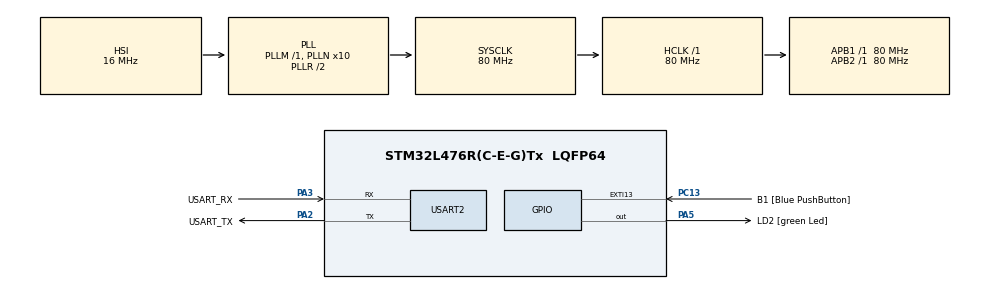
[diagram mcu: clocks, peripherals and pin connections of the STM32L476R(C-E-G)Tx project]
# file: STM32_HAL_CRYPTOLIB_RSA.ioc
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Mcu.Family=STM32L4
Mcu.Name=STM32L476R(C-E-G)Tx
Mcu.Package=LQFP64
NVIC.PriorityGroup=NVIC_PRIORITYGROUP_4
PA13\ (JTMS-SWDIO).GPIO_Label=TMS
PA13\ (JTMS-SWDIO).Mode=Serial_Wire
PA13\ (JTMS-SWDIO).Signal=SYS_JTMS-SWDIO
PA14\ (JTCK-SWCLK).GPIO_Label=TCK
PA14\ (JTCK-SWCLK).Mode=Serial_Wire
PA14\ (JTCK-SWCLK).Signal=SYS_JTCK-SWCLK
PA2.GPIO_Label=USART_TX
PA2.GPIO_Mode=GPIO_MODE_AF_PP
PA2.GPIO_PuPd=GPIO_NOPULL
PA2.GPIO_Speed=GPIO_SPEED_FREQ_VERY_HIGH
PA2.Mode=Asynchronous
PA2.Signal=USART2_TX
PA3.GPIO_Label=USART_RX
PA3.GPIO_Mode=GPIO_MODE_AF_PP
PA3.GPIO_PuPd=GPIO_NOPULL
PA3.GPIO_Speed=GPIO_SPEED_FREQ_VERY_HIGH
PA3.Mode=Asynchronous
PA3.Signal=USART2_RX
PA5.GPIO_Label=LD2 [green Led]
PA5.GPIO_ModeDefaultOutputPP=GPIO_MODE_OUTPUT_PP
PA5.GPIO_PuPd=GPIO_NOPULL
PA5.GPIO_Speed=GPIO_SPEED_FREQ_LOW
PA5.Signal=GPIO_Output
PB3\ (JTDO-TRACESWO).GPIO_Label=SWO
PB3\ (JTDO-TRACESWO).Signal=SYS_JTDO-SWO
PC13.GPIO_Label=B1 [Blue PushButton]
PC13.GPIO_ModeDefaultEXTI=GPIO_MODE_IT_FALLING
PC13.GPIO_PuPd=GPIO_NOPULL
PC13.Signal=GPXTI13
PC14-OSC32_IN\ (PC14).Mode=LSE-External-Oscillator
PC14-OSC32_IN\ (PC14).Signal=RCC_OSC32_IN
PC15-OSC32_OUT\ (PC15).Mode=LSE-External-Oscillator
PC15-OSC32_OUT\ (PC15).Signal=RCC_OSC32_OUT
PH0-OSC_IN\ (PH0).Signal=RCC_OSC_IN
PH1-OSC_OUT\ (PH1).Signal=RCC_OSC_OUT
ProjectManager.HeapSize=0x200
ProjectManager.StackSize=0x400
ProjectManager.TargetToolchain=STM32CubeIDE
RCC.ADCFreq_Value=64000000
RCC.AHBFreq_Value=80000000
RCC.APB1Freq_Value=80000000
RCC.APB1TimFreq_Value=80000000
RCC.APB2Freq_Value=80000000
RCC.APB2TimFreq_Value=80000000
RCC.CortexFreq_Value=80000000
RCC.HCLKFreq_Value=80000000
RCC.HSE_VALUE=8000000
RCC.HSI_VALUE=16000000
RCC.MSI_VALUE=4000000
RCC.PLLN=10
RCC.PLLSAI1Q=RCC_PLLQ_DIV4
RCC.PLLSourceVirtual=RCC_PLLSOURCE_HSI
RCC.PREFETCH_ENABLE=1
RCC.SYSCLKFreq_VALUE=80000000
RCC.SYSCLKSource=RCC_SYSCLKSOURCE_PLLCLK
RCC.USBFreq_Value=32000000
RCC.VCOOutputFreq_Value=160000000
USART2.VirtualMode-Asynchronous=VM_ASYNC
board=NUCLEO-L476RG

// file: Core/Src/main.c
/* USER CODE BEGIN Header */
/**
 ******************************************************************************
 * @file           : main.c
 * @brief          : Main program body
 ******************************************************************************
 * @attention
 *
 * Copyright (c) 2022 STMicroelectronics.
 * All rights reserved.
 *
 * This software is licensed under terms that can be found in the LICENSE file
 * in the root directory of this software component.
 * If no LICENSE file comes with this software, it is provided AS-IS.
 *
 ******************************************************************************
 */
/* USER CODE END Header */
#include "main.h"
#include "usart.h"
#include "gpio.h"

/* USER CODE BEGIN Includes */
#include <stdio.h>
#include <string.h>
#include <stdbool.h>
#include "cmox_crypto.h"
/* USER CODE END Includes */

/* USER CODE BEGIN PV */

/** Extract from pkcs-1v2-1d2-vec/oaep-vect.txt
# Example 10: A 2048-bit RSA key pair
# -----------------------------------

# Modulus:
ae 45 ed 56 01 ce c6 b8 cc 05 f8 03 93 5c 67 4d
db e0 d7 5c 4c 09 fd 79 51 fc 6b 0c ae c3 13 a8
df 39 97 0c 51 8b ff ba 5e d6 8f 3f 0d 7f 22 a4
02 9d 41 3f 1a e0 7e 4e be 9e 41 77 ce 23 e7 f5
40 4b 56 9e 4e e1 bd cf 3c 1f b0 3e f1 13 80 2d
4f 85 5e b9 b5 13 4b 5a 7c 80 85 ad ca e6 fa 2f
a1 41 7e c3 76 3b e1 71 b0 c6 2b 76 0e de 23 c1
2a d9 2b 98 08 84 c6 41 f5 a8 fa c2 6b da d4 a0
33 81 a2 2f e1 b7 54 88 50 94 c8 25 06 d4 01 9a
53 5a 28 6a fe b2 71 bb 9b a5 92 de 18 dc f6 00
c2 ae ea e5 6e 02 f7 cf 79 fc 14 cf 3b dc 7c d8
4f eb bb f9 50 ca 90 30 4b 22 19 a7 aa 06 3a ef
a2 c3 c1 98 0e 56 0c d6 4a fe 77 95 85 b6 10 76
57 b9 57 85 7e fd e6 01 09 88 ab 7d e4 17 fc 88
d8 f3 84 c4 e6 e7 2c 3f 94 3e 0c 31 c0 c4 a5 cc
36 f8 79 d8 a3 ac 9d 7d 59 86 0e aa da 6b 83 bb

# Public Exponent:
01 00 01

# Private Exponent:
05 6b 04 21 6f e5 f3 54 ac 77 25 0a 4b 6b 0c 85
25 a8 5c 59 b0 bd 80 c5 64 50 a2 2d 5f 43 8e 59
6a 33 3a a8 75 e2 91 dd 43 f4 8c b8 8b 9d 5f c0
d4 99 f9 fc d1 c3 97 f9 af c0 70 cd 9e 39 8c 8d
19 e6 1d b7 c7 41 0a 6b 26 75 df bf 5d 34 5b 80
4d 20 1a dd 50 2d 5c e2 df cb 09 1c e9 99 7b be
be 57 30 6f 38 3e 4d 58 81 03 f0 36 f7 e8 5d 19
34 d1 52 a3 23 e4 a8 db 45 1d 6f 4a 5b 1b 0f 10
2c c1 50 e0 2f ee e2 b8 8d ea 4a d4 c1 ba cc b2
4d 84 07 2d 14 e1 d2 4a 67 71 f7 40 8e e3 05 64
fb 86 d4 39 3a 34 bc f0 b7 88 50 1d 19 33 03 f1
3a 22 84 b0 01 f0 f6 49 ea f7 93 28 d4 ac 5c 43
0a b4 41 49 20 a9 46 0e d1 b7 bc 40 ec 65 3e 87
6d 09 ab c5 09 ae 45 b5 25 19 01 16 a0 c2 61 01
84 82 98 50 9c 1c 3b f3 a4 83 e7 27 40 54 e1 5e
97 07 50 36 e9 89 f6 09 32 80 7b 52 57 75 1e 79

# OAEP Example 10.4
# Message:
bc dd 19 0d a3 b7 d3 00 df 9a 06 e2 2c aa e2 a7
5f 10 c9 1f f6 67 b7 c1 6b de 8b 53 06 4a 26 49
a9 40 45 c9

# Seed:
5c ac a6 a0 f7 64 16 1a 96 84 f8 5d 92 b6 e0 ef
37 ca 8b 65

# Encryption:
63 18 e9 fb 5c 0d 05 e5 30 7e 16 83 43 6e 90 32
93 ac 46 42 35 8a aa 22 3d 71 63 01 3a ba 87 e2
df da 8e 60 c6 86 0e 29 a1 e9 26 86 16 3e a0 b9
17 5f 32 9c a3 b1 31 a1 ed d3 a7 77 59 a8 b9 7b
ad 6a 4f 8f 43 96 f2 8c f6 f3 9c a5 81 12 e4 81
60 d6 e2 03 da a5 85 6f 3a ca 5f fe d5 77 af 49
94 08 e3 df d2 33 e3 e6 04 db e3 4a 9c 4c 90 82
de 65 52 7c ac 63 31 d2 9d c8 0e 05 08 a0 fa 71
22 e7 f3 29 f6 cc a5 cf a3 4d 4d 1d a4 17 80 54
57 e0 08 be c5 49 e4 78 ff 9e 12 a7 63 c4 77 d1
5b bb 78 f5 b6 9b d5 78 30 fc 2c 4e d6 86 d7 9b
c7 2a 95 d8 5f 88 13 4c 6b 0a fe 56 a8 cc fb c8
55 82 8b b3 39 bd 17 90 9c f1 d7 0d e3 33 5a e0
70 39 09 3e 60 6d 65 53 65 de 65 50 b8 72 cd 6d
e1 d4 40 ee 03 1b 61 94 5f 62 9a d8 a3 53 b0 d4
09 39 e9 6a 3c 45 0d 2a 8d 5e ee 9f 67 80 93 c8

*/

//plain text
const uint8_t message[] =
{
    0xbc, 0xdd, 0x19, 0x0d, 0xa3, 0xb7, 0xd3, 0x00, 0xdf, 0x9a, 0x06, 0xe2, 0x2c, 0xaa, 0xe2, 0xa7,
    0x5f, 0x10, 0xc9, 0x1f, 0xf6, 0x67, 0xb7, 0xc1, 0x6b, 0xde, 0x8b, 0x53, 0x06, 0x4a, 0x26, 0x49,
    0xa9, 0x40, 0x45, 0xc9
};

//seed
const uint8_t seed[] =
{
    0x5c, 0xac, 0xa6, 0xa0, 0xf7, 0x64, 0x16, 0x1a, 0x96, 0x84, 0xf8, 0x5d, 0x92, 0xb6, 0xe0, 0xef,
    0x37, 0xca, 0x8b, 0x65
};

//encrypted text
const uint8_t encryptedMessage[] =
{
    0x63, 0x18, 0xe9, 0xfb, 0x5c, 0x0d, 0x05, 0xe5, 0x30, 0x7e, 0x16, 0x83, 0x43, 0x6e, 0x90, 0x32,
    0x93, 0xac, 0x46, 0x42, 0x35, 0x8a, 0xaa, 0x22, 0x3d, 0x71, 0x63, 0x01, 0x3a, 0xba, 0x87, 0xe2,
    0xdf, 0xda, 0x8e, 0x60, 0xc6, 0x86, 0x0e, 0x29, 0xa1, 0xe9, 0x26, 0x86, 0x16, 0x3e, 0xa0, 0xb9,
    0x17, 0x5f, 0x32, 0x9c, 0xa3, 0xb1, 0x31, 0xa1, 0xed, 0xd3, 0xa7, 0x77, 0x59, 0xa8, 0xb9, 0x7b,
    0xad, 0x6a, 0x4f, 0x8f, 0x43, 0x96, 0xf2, 0x8c, 0xf6, 0xf3, 0x9c, 0xa5, 0x81, 0x12, 0xe4, 0x81,
    0x60, 0xd6, 0xe2, 0x03, 0xda, 0xa5, 0x85, 0x6f, 0x3a, 0xca, 0x5f, 0xfe, 0xd5, 0x77, 0xaf, 0x49,
    0x94, 0x08, 0xe3, 0xdf, 0xd2, 0x33, 0xe3, 0xe6, 0x04, 0xdb, 0xe3, 0x4a, 0x9c, 0x4c, 0x90, 0x82,
    0xde, 0x65, 0x52, 0x7c, 0xac, 0x63, 0x31, 0xd2, 0x9d, 0xc8, 0x0e, 0x05, 0x08, 0xa0, 0xfa, 0x71,
    0x22, 0xe7, 0xf3, 0x29, 0xf6, 0xcc, 0xa5, 0xcf, 0xa3, 0x4d, 0x4d, 0x1d, 0xa4, 0x17, 0x80, 0x54,
    0x57, 0xe0, 0x08, 0xbe, 0xc5, 0x49, 0xe4, 0x78, 0xff, 0x9e, 0x12, 0xa7, 0x63, 0xc4, 0x77, 0xd1,
    0x5b, 0xbb, 0x78, 0xf5, 0xb6, 0x9b, 0xd5, 0x78, 0x30, 0xfc, 0x2c, 0x4e, 0xd6, 0x86, 0xd7, 0x9b,
    0xc7, 0x2a, 0x95, 0xd8, 0x5f, 0x88, 0x13, 0x4c, 0x6b, 0x0a, 0xfe, 0x56, 0xa8, 0xcc, 0xfb, 0xc8,
    0x55, 0x82, 0x8b, 0xb3, 0x39, 0xbd, 0x17, 0x90, 0x9c, 0xf1, 0xd7, 0x0d, 0xe3, 0x33, 0x5a, 0xe0,
    0x70, 0x39, 0x09, 0x3e, 0x60, 0x6d, 0x65, 0x53, 0x65, 0xde, 0x65, 0x50, 0xb8, 0x72, 0xcd, 0x6d,
    0xe1, 0xd4, 0x40, 0xee, 0x03, 0x1b, 0x61, 0x94, 0x5f, 0x62, 0x9a, 0xd8, 0xa3, 0x53, 0xb0, 0xd4,
    0x09, 0x39, 0xe9, 0x6a, 0x3c, 0x45, 0x0d, 0x2a, 0x8d, 0x5e, 0xee, 0x9f, 0x67, 0x80, 0x93, 0xc8
};

//modulus
const uint8_t modulus[] =
{
    0xae, 0x45, 0xed, 0x56, 0x01, 0xce, 0xc6, 0xb8, 0xcc, 0x05, 0xf8, 0x03, 0x93, 0x5c, 0x67, 0x4d,
    0xdb, 0xe0, 0xd7, 0x5c, 0x4c, 0x09, 0xfd, 0x79, 0x51, 0xfc, 0x6b, 0x0c, 0xae, 0xc3, 0x13, 0xa8,
    0xdf, 0x39, 0x97, 0x0c, 0x51, 0x8b, 0xff, 0xba, 0x5e, 0xd6, 0x8f, 0x3f, 0x0d, 0x7f, 0x22, 0xa4,
    0x02, 0x9d, 0x41, 0x3f, 0x1a, 0xe0, 0x7e, 0x4e, 0xbe, 0x9e, 0x41, 0x77, 0xce, 0x23, 0xe7, 0xf5,
    0x40, 0x4b, 0x56, 0x9e, 0x4e, 0xe1, 0xbd, 0xcf, 0x3c, 0x1f, 0xb0, 0x3e, 0xf1, 0x13, 0x80, 0x2d,
    0x4f, 0x85, 0x5e, 0xb9, 0xb5, 0x13, 0x4b, 0x5a, 0x7c, 0x80, 0x85, 0xad, 0xca, 0xe6, 0xfa, 0x2f,
    0xa1, 0x41, 0x7e, 0xc3, 0x76, 0x3b, 0xe1, 0x71, 0xb0, 0xc6, 0x2b, 0x76, 0x0e, 0xde, 0x23, 0xc1,
    0x2a, 0xd9, 0x2b, 0x98, 0x08, 0x84, 0xc6, 0x41, 0xf5, 0xa8, 0xfa, 0xc2, 0x6b, 0xda, 0xd4, 0xa0,
    0x33, 0x81, 0xa2, 0x2f, 0xe1, 0xb7, 0x54, 0x88, 0x50, 0x94, 0xc8, 0x25, 0x06, 0xd4, 0x01, 0x9a,
    0x53, 0x5a, 0x28, 0x6a, 0xfe, 0xb2, 0x71, 0xbb, 0x9b, 0xa5, 0x92, 0xde, 0x18, 0xdc, 0xf6, 0x00,
    0xc2, 0xae, 0xea, 0xe5, 0x6e, 0x02, 0xf7, 0xcf, 0x79, 0xfc, 0x14, 0xcf, 0x3b, 0xdc, 0x7c, 0xd8,
    0x4f, 0xeb, 0xbb, 0xf9, 0x50, 0xca, 0x90, 0x30, 0x4b, 0x22, 0x19, 0xa7, 0xaa, 0x06, 0x3a, 0xef,
    0xa2, 0xc3, 0xc1, 0x98, 0x0e, 0x56, 0x0c, 0xd6, 0x4a, 0xfe, 0x77, 0x95, 0x85, 0xb6, 0x10, 0x76,
    0x57, 0xb9, 0x57, 0x85, 0x7e, 0xfd, 0xe6, 0x01, 0x09, 0x88, 0xab, 0x7d, 0xe4, 0x17, 0xfc, 0x88,
    0xd8, 0xf3, 0x84, 0xc4, 0xe6, 0xe7, 0x2c, 0x3f, 0x94, 0x3e, 0x0c, 0x31, 0xc0, 0xc4, 0xa5, 0xcc,
    0x36, 0xf8, 0x79, 0xd8, 0xa3, 0xac, 0x9d, 0x7d, 0x59, 0x86, 0x0e, 0xaa, 0xda, 0x6b, 0x83, 0xbb
};

//public exponent
const uint8_t publicExponent[] =
{
    0x01, 0x00, 0x01
};

//private exponent
const uint8_t privateExponent[] =
{
    0x05, 0x6b, 0x04, 0x21, 0x6f, 0xe5, 0xf3, 0x54, 0xac, 0x77, 0x25, 0x0a, 0x4b, 0x6b, 0x0c, 0x85,
    0x25, 0xa8, 0x5c, 0x59, 0xb0, 0xbd, 0x80, 0xc5, 0x64, 0x50, 0xa2, 0x2d, 0x5f, 0x43, 0x8e, 0x59,
    0x6a, 0x33, 0x3a, 0xa8, 0x75, 0xe2, 0x91, 0xdd, 0x43, 0xf4, 0x8c, 0xb8, 0x8b, 0x9d, 0x5f, 0xc0,
    0xd4, 0x99, 0xf9, 0xfc, 0xd1, 0xc3, 0x97, 0xf9, 0xaf, 0xc0, 0x70, 0xcd, 0x9e, 0x39, 0x8c, 0x8d,
    0x19, 0xe6, 0x1d, 0xb7, 0xc7, 0x41, 0x0a, 0x6b, 0x26, 0x75, 0xdf, 0xbf, 0x5d, 0x34, 0x5b, 0x80,
    0x4d, 0x20, 0x1a, 0xdd, 0x50, 0x2d, 0x5c, 0xe2, 0xdf, 0xcb, 0x09, 0x1c, 0xe9, 0x99, 0x7b, 0xbe,
    0xbe, 0x57, 0x30, 0x6f, 0x38, 0x3e, 0x4d, 0x58, 0x81, 0x03, 0xf0, 0x36, 0xf7, 0xe8, 0x5d, 0x19,
    0x34, 0xd1, 0x52, 0xa3, 0x23, 0xe4, 0xa8, 0xdb, 0x45, 0x1d, 0x6f, 0x4a, 0x5b, 0x1b, 0x0f, 0x10,
    0x2c, 0xc1, 0x50, 0xe0, 0x2f, 0xee, 0xe2, 0xb8, 0x8d, 0xea, 0x4a, 0xd4, 0xc1, 0xba, 0xcc, 0xb2,
    0x4d, 0x84, 0x07, 0x2d, 0x14, 0xe1, 0xd2, 0x4a, 0x67, 0x71, 0xf7, 0x40, 0x8e, 0xe3, 0x05, 0x64,
    0xfb, 0x86, 0xd4, 0x39, 0x3a, 0x34, 0xbc, 0xf0, 0xb7, 0x88, 0x50, 0x1d, 0x19, 0x33, 0x03, 0xf1,
    0x3a, 0x22, 0x84, 0xb0, 0x01, 0xf0, 0xf6, 0x49, 0xea, 0xf7, 0x93, 0x28, 0xd4, 0xac, 0x5c, 0x43,
    0x0a, 0xb4, 0x41, 0x49, 0x20, 0xa9, 0x46, 0x0e, 0xd1, 0xb7, 0xbc, 0x40, 0xec, 0x65, 0x3e, 0x87,
    0x6d, 0x09, 0xab, 0xc5, 0x09, 0xae, 0x45, 0xb5, 0x25, 0x19, 0x01, 0x16, 0xa0, 0xc2, 0x61, 0x01,
    0x84, 0x82, 0x98, 0x50, 0x9c, 0x1c, 0x3b, 0xf3, 0xa4, 0x83, 0xe7, 0x27, 0x40, 0x54, 0xe1, 0x5e,
    0x97, 0x07, 0x50, 0x36, 0xe9, 0x89, 0xf6, 0x09, 0x32, 0x80, 0x7b, 0x52, 0x57, 0x75, 0x1e, 0x79
};

/* USER CODE END PV */

void SystemClock_Config(void);

/* USER CODE BEGIN 0 */

cmox_rsa_handle_t hRSA;                                 //RSA handle
cmox_rsa_key_t RSAKey;                                  //RSA key
uint8_t workingBuffer[7000];                            //RSA working buffer
uint8_t encBuffer[sizeof(encryptedMessage)];            //encrypted Buffer
uint8_t decBuffer[sizeof(message)];                     //decrypted Buffer
size_t encOutputLen;                                    //encrypted length
size_t decOutputLen;                                    //decrypted length

int __io_putchar (int ch)
{
  HAL_UART_Transmit(&huart2, (uint8_t*)&ch, 1, HAL_MAX_DELAY);
  return ch;
}

void printHexArray(const uint8_t* arr, const size_t len)
{
  for(size_t i = 0; i < len; i++)
  {
    printf("%02X ", arr[i]);
  }

  printf("\r\n");
}

bool RSAEncrypt(const uint8_t* plainText, const size_t plainTextLen, uint8_t* encBuffer, size_t* encBufferLen)
{
  cmox_rsa_retval_t retval;
  cmox_rsa_construct(&hRSA, CMOX_RSA_MATH_FUNCS, CMOX_MODEXP_PUBLIC, workingBuffer, sizeof(workingBuffer));

  //prepare public key
  retval = cmox_rsa_setKey(
      &RSAKey,
      modulus, sizeof(modulus),
      publicExponent, sizeof(publicExponent));

  if(retval != CMOX_RSA_SUCCESS) return false;

  //encrypt with public key
  retval = cmox_rsa_pkcs1v22_encrypt(
      &hRSA,
      &RSAKey,
      plainText, plainTextLen,
      CMOX_RSA_PKCS1V22_HASH_SHA1,
      seed, sizeof(seed),
      NULL, 0,
      encBuffer, encBufferLen);

  if(retval != CMOX_RSA_SUCCESS) return false;

  cmox_rsa_cleanup(&hRSA);

  return true;
}

bool RSADecrypt(const uint8_t* encBuffer, const size_t encBufferLen, uint8_t* decBuffer, size_t* decBufferLen)
{
  cmox_rsa_retval_t retval;
  cmox_rsa_construct(&hRSA, CMOX_RSA_MATH_FUNCS, CMOX_MODEXP_PRIVATE, workingBuffer, sizeof(workingBuffer));

  //prepare private key
  retval = cmox_rsa_setKey(
      &RSAKey,
      modulus, sizeof(modulus),
      privateExponent, sizeof(privateExponent));

  if(retval != CMOX_RSA_SUCCESS) return false;

  //decrypt with private key
  retval = cmox_rsa_pkcs1v22_decrypt(
      &hRSA,
      &RSAKey,
      encBuffer, encBufferLen,
      CMOX_RSA_PKCS1V22_HASH_SHA1,
      NULL, 0,
      decBuffer, decBufferLen);

  if(retval != CMOX_RSA_SUCCESS) return false;

  cmox_rsa_cleanup(&hRSA);

  return true;
}

/* USER CODE END 0 */

int main(void)
{

  /* MCU Configuration--------------------------------------------------------*/

  /* Reset of all peripherals, Initializes the Flash interface and the Systick. */
  HAL_Init();

  /* Configure the system clock */
  SystemClock_Config();

  /* Initialize all configured peripherals */
  MX_GPIO_Init();
  MX_USART2_UART_Init();
  /* USER CODE BEGIN 2 */

  /* Initialize cryptographic library */
  if (cmox_initialize(NULL) != CMOX_INIT_SUCCESS)
  {
    Error_Handler();
  }

  printf("Print message.\r\n");
  printHexArray(message, sizeof(message));
  printf("\r\n");

  printf("Print encrypted message.\r\n");
  printHexArray(encryptedMessage, sizeof(encryptedMessage));
  printf("\r\n");

  if(!RSAEncrypt(message, sizeof(message), encBuffer, &encOutputLen))
  {
    Error_Handler();
  }
  else
  {
    if((memcmp(encBuffer, encryptedMessage, sizeof(encryptedMessage)) != 0) || (sizeof(encryptedMessage) != encOutputLen))
    {
      Error_Handler();
    }
    else
    {
      printf("Print encBuffer.\r\n");
      printHexArray(encBuffer, sizeof(encBuffer));
      printf("\r\n");
    }
  }

  if(!RSADecrypt(encryptedMessage, sizeof(encryptedMessage), decBuffer, &decOutputLen))
  {
    Error_Handler();
  }
  else
  {
    if((memcmp(decBuffer, message, sizeof(message)) != 0) || (sizeof(message) != decOutputLen))
    {
      Error_Handler();
    }
    else
    {
      printf("Print decBuffer.\r\n");
      printHexArray(decBuffer, sizeof(decBuffer));
      printf("\r\n");
    }
  }

  /* No more need of cryptographic services, finalize cryptographic library */
  if (cmox_finalize(NULL) != CMOX_INIT_SUCCESS)
  {
    Error_Handler();
  }

  /* USER CODE END 2 */

  /* Infinite loop */
  while (1)
  {

  }
}

void SystemClock_Config(void)
{
  RCC_OscInitTypeDef RCC_OscInitStruct = {0};
  RCC_ClkInitTypeDef RCC_ClkInitStruct = {0};

  /** Configure the main internal regulator output voltage
   */
  if (HAL_PWREx_ControlVoltageScaling(PWR_REGULATOR_VOLTAGE_SCALE1) != HAL_OK)
  {
    Error_Handler();
  }

  /** Initializes the RCC Oscillators according to the specified parameters
   * in the RCC_OscInitTypeDef structure.
   */
  RCC_OscInitStruct.OscillatorType = RCC_OSCILLATORTYPE_HSI;
  RCC_OscInitStruct.HSIState = RCC_HSI_ON;
  RCC_OscInitStruct.HSICalibrationValue = RCC_HSICALIBRATION_DEFAULT;
  RCC_OscInitStruct.PLL.PLLState = RCC_PLL_ON;
  RCC_OscInitStruct.PLL.PLLSource = RCC_PLLSOURCE_HSI;
  RCC_OscInitStruct.PLL.PLLM = 1;
  RCC_OscInitStruct.PLL.PLLN = 10;
  RCC_OscInitStruct.PLL.PLLP = RCC_PLLP_DIV7;
  RCC_OscInitStruct.PLL.PLLQ = RCC_PLLQ_DIV2;
  RCC_OscInitStruct.PLL.PLLR = RCC_PLLR_DIV2;
  if (HAL_RCC_OscConfig(&RCC_OscInitStruct) != HAL_OK)
  {
    Error_Handler();
  }

  /** Initializes the CPU, AHB and APB buses clocks
   */
  RCC_ClkInitStruct.ClockType = RCC_CLOCKTYPE_HCLK|RCC_CLOCKTYPE_SYSCLK
      |RCC_CLOCKTYPE_PCLK1|RCC_CLOCKTYPE_PCLK2;
  RCC_ClkInitStruct.SYSCLKSource = RCC_SYSCLKSOURCE_PLLCLK;
  RCC_ClkInitStruct.AHBCLKDivider = RCC_SYSCLK_DIV1;
  RCC_ClkInitStruct.APB1CLKDivider = RCC_HCLK_DIV1;
  RCC_ClkInitStruct.APB2CLKDivider = RCC_HCLK_DIV1;

  if (HAL_RCC_ClockConfig(&RCC_ClkInitStruct, FLASH_LATENCY_4) != HAL_OK)
  {
    Error_Handler();
  }
}

void Error_Handler(void)
{
  /* USER CODE BEGIN Error_Handler_Debug */
  /* User can add his own implementation to report the HAL error return state */
  __disable_irq();
  while (1)
  {
    HAL_GPIO_WritePin(LD2_GPIO_Port, LD2_Pin, GPIO_PIN_SET);
  }
  /* USER CODE END Error_Handler_Debug */
}
